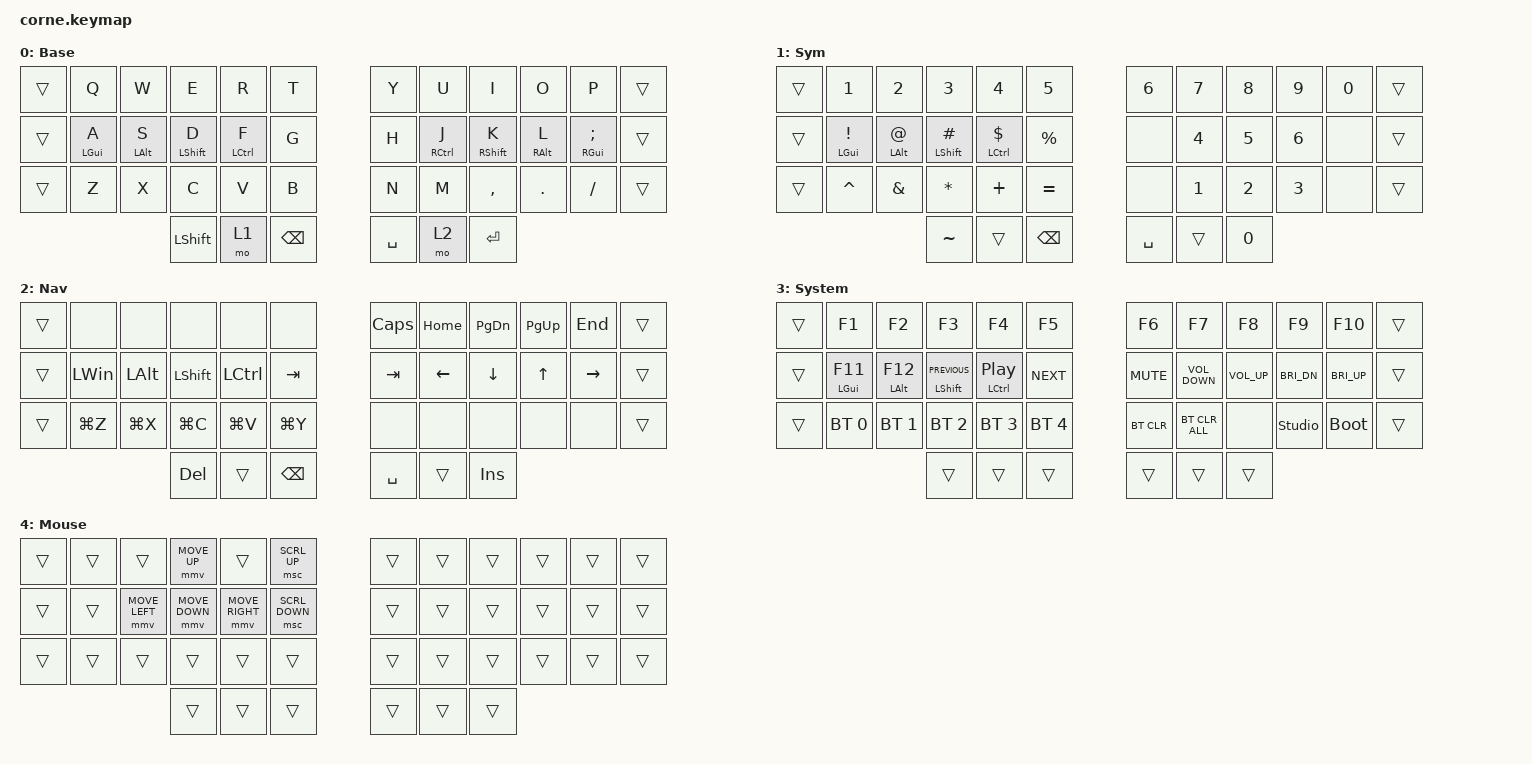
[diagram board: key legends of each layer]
#include <behaviors.dtsi>
#include <dt-bindings/zmk/bt.h>
#include <dt-bindings/zmk/keys.h>
#include <dt-bindings/zmk/pointing.h>

#define DEF 0
#define NAV 1
#define SYM 2
#define ADJ 3
#define EXTRA 4

//testing mouse movement and scroll binds...

/ {
    behaviors {
        hm: homerow_mods {
            compatible = "zmk,behavior-hold-tap";
            label = "HOMEROW_MODS";
            #binding-cells = <2>;
            tapping-term-ms = <200>;
            quick_tap_ms = <0>;
            flavor = "tap-preferred";
            bindings = <&kp>, <&kp>;

            quick-tap-ms = <180>;
            global-quick-tap;
        };

        para: para {
            compatible = "zmk,behavior-tap-dance";
            label = "PARA";
            #binding-cells = <0>;
            bindings = <&kp LEFT_PARENTHESIS>, <&kp RIGHT_PARENTHESIS>;
        };

        caps: caps {
            compatible = "zmk,behavior-caps-word";
            label = "CAPS";
            #binding-cells = <0>;
            continue-list = <MINUS BACKSPACE>;
        };

        paraless: paraless {
            compatible = "zmk,behavior-mod-morph";
            label = "PARALESS";
            bindings = <&kp LEFT_PARENTHESIS>, <&kp LESS_THAN>;

            #binding-cells = <0>;
            mods = <(MOD_LSFT)>;
        };

        paragreat: paragreat {
            compatible = "zmk,behavior-mod-morph";
            label = "PARAGREAT";
            bindings = <&kp RIGHT_PARENTHESIS>, <&kp GREATER_THAN>;

            #binding-cells = <0>;
            mods = <(MOD_LSFT)>;
        };
    };

    combos {
        compatible = "zmk,combos";

        backspace {
            bindings = <&kp BACKSPACE>;
            key-positions = <9 8>;
        };

        backslash {
            bindings = <&kp BACKSLASH>;
            key-positions = <21 34>;
        };

        leftbrack {
            bindings = <&kp LEFT_BRACKET>;
            key-positions = <28 29>;
        };

        rightbrack {
            bindings = <&kp RIGHT_BRACKET>;
            key-positions = <30 31>;
        };

        lessthan {
            bindings = <&kp LESS_THAN>;
            key-positions = <25 26>;
        };

        greaterthan {
            bindings = <&kp GREATER_THAN>;
            key-positions = <33 34>;
        };

        leftbrace {
            bindings = <&kp LEFT_BRACE>;
            key-positions = <27 26>;
        };

        rightbrace {
            bindings = <&kp RIGHT_BRACE>;
            key-positions = <32 33>;
        };

        leftpar {
            bindings = <&kp LEFT_PARENTHESIS>;
            key-positions = <28 27>;
        };

        rightpar {
            bindings = <&kp RIGHT_PARENTHESIS>;
            key-positions = <31 32>;
        };

        minus {
            bindings = <&kp MINUS>;
            key-positions = <3 2>;
        };

        cut {
            bindings = <&kp LC(X)>;
            key-positions = <1 2 3>;
        };

        copy {
            bindings = <&kp LC(C)>;
            key-positions = <13 14 15>;
        };

        paste {
            bindings = <&kp LC(V)>;
            key-positions = <25 26 27>;
        };

        undo {
            bindings = <&kp LC(Z)>;
            key-positions = <21 22 20>;
        };

        redo {
            bindings = <&kp LC(Y)>;
            key-positions = <33 34 32>;
        };

        esc {
            bindings = <&kp ESCAPE>;
            key-positions = <1 2 38>;
        };

        pipe {
            bindings = <&kp PIPE>;
            key-positions = <4 16>;
        };

        s-quote {
            bindings = <&kp SINGLE_QUOTE>;
            key-positions = <6 18>;
        };

        d-quote {
            bindings = <&kp DOUBLE_QUOTES>;
            key-positions = <7 19>;
        };

        backtick {
            bindings = <&kp GRAVE>;
            key-positions = <5 17>;
        };

        underscore {
            bindings = <&kp UNDER>;
            key-positions = <8 9 10>;
        };
    };

    //

    keymap {
        compatible = "zmk,keymap";

        DEF {
            display-name = "Base";

            // -----------------------------------------------------------------------------------------
            // |  Q  |  W  |  E  |  R  |  T  |   |  Y  |  U   |  I  |  O  |  P  |
            // |  A  |  S  |  D  |  F  |  G  |   |  H  |  J   |  K  |  L  |  ;  |
            // |  Z  |  X  |  C  |  V  |  B  |   |  N  |  M   |  ,  |  .  |  /  |
            // | GUI | CTRL | SHFT | LWR | SPC |   | ENT | RSE  | BKSP | ALT | ESC |

            bindings = <
&trans  &kp Q       &kp W       &kp E           &kp R        &kp T            &kp Y      &kp U        &kp I        &kp O       &kp P          &trans
&trans  &hm LGUI A  &hm LALT S  &hm LSHIFT D    &hm LCTRL F  &kp G            &kp H      &hm RCTRL J  &hm RSHFT K  &hm RALT L  &hm RGUI SEMI  &trans
&trans  &kp Z       &kp X       &kp C           &kp V        &kp B            &kp N      &kp M        &kp COMMA    &kp DOT     &kp FSLH       &trans
                                &kp LEFT_SHIFT  &mo 1        &kp BACKSPACE    &kp SPACE  &mo 2        &kp RETURN
            >;
        };

        SYM {
            display-name = "Sym";

            // -----------------------------------------------------------------------------------------
            // |  TAB |  1  |  2  |  3  |  4  |  5  |   |  6  |  7  |  8  |  9  |  0  | BKSP |
            // | BTCLR| BT1 | BT2 | BT3 | BT4 | BT5 |   | LFT | DWN |  UP | RGT |     |      |
            // | SHFT |     |     |     |     |     |   |     |     |     |     |     |      |
            // | GUI | CTRL | SHFT | LWR | SPC |   | ENT | RSE  | BKSP | ALT | ESC |

            bindings = <
&trans  &kp N1                &kp N2            &kp N3          &kp N4            &kp N5           &kp N6     &kp N7  &kp N8  &kp N9  &kp N0  &trans
&trans  &hm LGUI EXCLAMATION  &hm LALT AT_SIGN  &hm LSHFT HASH  &hm LCTRL DOLLAR  &kp PERCENT      &none      &kp N4  &kp N5  &kp N6  &none   &trans
&trans  &kp CARET             &kp AMPS          &kp ASTRK       &kp PLUS          &kp EQUAL        &none      &kp N1  &kp N2  &kp N3  &none   &trans
                                                &kp TILDE       &trans            &kp BACKSPACE    &kp SPACE  &trans  &kp N0
            >;
        };

        NAV {
            display-name = "Nav";

            // -----------------------------------------------------------------------------------------
            // |  TAB |  !  |  @  |  #  |  $  |  %  |   |  ^  |  &  |  *  |  (  |  )  | BKSP |
            // | CTRL |     |     |     |     |     |   |  -  |  =  |  [  |  ]  |  \  |  `   |
            // | SHFT |     |     |     |     |     |   |  _  |  +  |  {  |  }  | "|" |  ~   |
            //                    | GUI |     | SPC |   | ENT |     | ALT |

            bindings = <
&trans  &none         &none         &none           &none      &none            &kp CAPSLOCK  &kp HOME  &kp PAGE_DOWN  &kp PAGE_UP  &kp END    &trans
&trans  &kp LEFT_WIN  &kp LEFT_ALT  &kp LEFT_SHIFT  &kp LCTRL  &kp TAB          &kp TAB       &kp LEFT  &kp DOWN       &kp UP       &kp RIGHT  &trans
&trans  &kp LG(Z)     &kp LG(X)     &kp LG(C)       &kp LG(V)  &kp LG(Y)        &none         &none     &none          &none        &none      &trans
                                    &kp DELETE      &trans     &kp BACKSPACE    &kp SPACE     &trans    &kp INSERT
            >;
        };

        ADJ {
            display-name = "System";
            bindings = <
&trans  &kp F1        &kp F2            &kp F3                     &kp F4                         &kp F5          &kp F6      &kp F7             &kp F8           &kp F9          &kp F10       &trans
&trans  &hm LGUI F11  &hm LEFT_ALT F12  &hm LEFT_SHIFT C_PREVIOUS  &hm LEFT_CONTROL C_PLAY_PAUSE  &kp C_NEXT      &kp C_MUTE  &kp C_VOLUME_DOWN  &kp C_VOLUME_UP  &kp C_BRI_DN    &kp C_BRI_UP  &trans
&trans  &bt BT_SEL 0  &bt BT_SEL 1      &bt BT_SEL 2               &bt BT_SEL 3                   &bt BT_SEL 4    &bt BT_CLR  &bt BT_CLR_ALL     &none            &studio_unlock  &bootloader   &trans
                                        &trans                     &trans                         &trans          &trans      &trans             &trans
            >;
        };

        EXTRA {
            display-name = "Mouse";
            bindings = <
&trans  &trans  &trans          &mmv MOVE_UP    &trans           &msc SCRL_UP      &trans  &trans  &trans  &trans  &trans  &trans
&trans  &trans  &mmv MOVE_LEFT  &mmv MOVE_DOWN  &mmv MOVE_RIGHT  &msc SCRL_DOWN    &trans  &trans  &trans  &trans  &trans  &trans
&trans  &trans  &trans          &trans          &trans           &trans            &trans  &trans  &trans  &trans  &trans  &trans
                                &trans          &trans           &trans            &trans  &trans  &trans
            >;
        };
    };

    conditional_layers {
        compatible = "zmk,conditional-layers";

        l3 {
            if-layers = <1 2>;
            then-layer = <3>;
        };
    };
};
